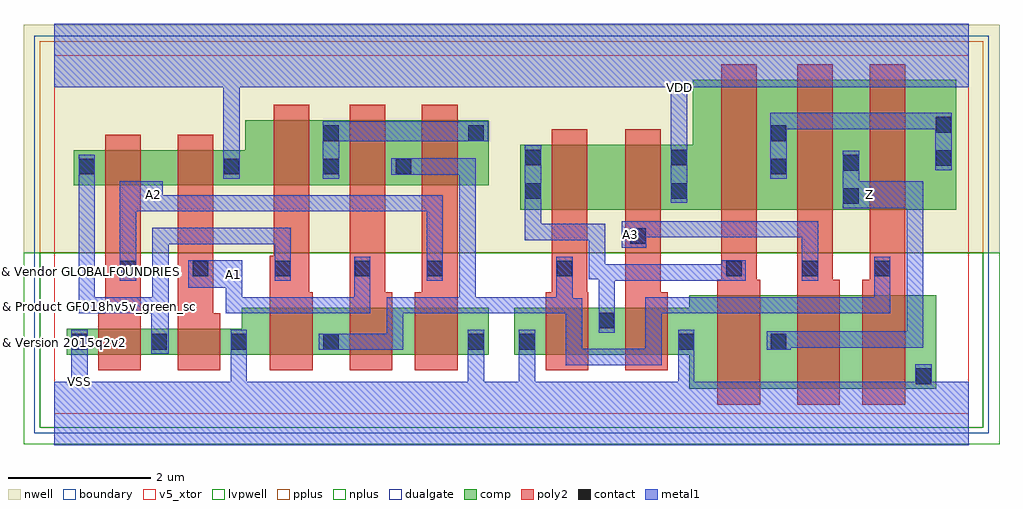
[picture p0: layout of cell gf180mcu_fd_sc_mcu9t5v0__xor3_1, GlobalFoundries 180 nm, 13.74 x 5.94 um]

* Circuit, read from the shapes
.subckt gf180mcu_fd_sc_mcu9t5v0__xor3_1 A1 A2 A3 VDD VSS Z
XM1 n1 A2 VSS VSUBS nfet_05v0 w=0.36u l=0.6u
XM2 VSS A1 n1 VSUBS nfet_05v0 w=0.36u l=0.6u
XM3 n2 n1 VSS VSUBS nfet_05v0 w=0.66u l=0.6u
XM4 n3 A1 n2 VSUBS nfet_05v0 w=0.66u l=0.6u
XM5 VSS A2 n3 VSUBS nfet_05v0 w=0.66u l=0.6u
XM6 n4 n2 VSS VSUBS nfet_05v0 w=0.66u l=0.6u
XM7 VSS A3 n4 VSUBS nfet_05v0 w=0.66u l=0.6u
XM8 Z n4 VSS VSUBS nfet_05v0 w=1.32u l=0.6u
XM9 n5 A3 Z VSUBS nfet_05v0 w=1.32u l=0.6u
XM10 VSS n2 n5 VSUBS nfet_05v0 w=1.32u l=0.6u
XM11 n6 A2 n1 n7 pfet_05v0 w=0.495u l=0.5u
XM12 VDD A1 n6 n7 pfet_05v0 w=0.495u l=0.5u
XM13 n8 n1 VDD n7 pfet_05v0 w=0.915u l=0.5u
XM14 n2 A1 n8 n7 pfet_05v0 w=0.915u l=0.5u
XM15 n8 A2 n2 n7 pfet_05v0 w=0.915u l=0.5u
XM16 n9 n2 n4 n7 pfet_05v0 w=0.915u l=0.5u
XM17 VDD A3 n9 n7 pfet_05v0 w=0.915u l=0.5u
XM18 n10 n4 VDD n7 pfet_05v0 w=1.83u l=0.5u
XM19 Z A3 n10 n7 pfet_05v0 w=1.83u l=0.5u
XM20 n10 n2 Z n7 pfet_05v0 w=1.83u l=0.5u
.ends

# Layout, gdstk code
import gdstk
lib = gdstk.Library(unit=1e-6, precision=1e-09)
def R(c, l, rs):  # rectangles x0, y0, x1, y1
    for r in rs: c.add(gdstk.rectangle(r[:2], r[2:], *l))
def A(c, l, x, y, w, h, nx, ny, dx, dy):  # array of equal rectangles
    R(c, l, [(x+i*dx, y+j*dy, x+i*dx+w, y+j*dy+h) for i in range(nx) for j in range(ny)])
def P(c, l, *ps):  # polygons
    for p in ps: c.add(gdstk.Polygon(p, *l))
boundary = (0, 0)
nwell = (21, 0)
comp = (22, 0)
poly2 = (30, 0)
pplus = (31, 0)
nplus = (32, 0)
contact = (33, 0)
metal1 = (34, 0)
dualgate = (55, 0)
v5_xtor = (112, 1)
lvpwell = (204, 0)

gf180mcu_fd_sc_mcu9t5v0_ = lib.new_cell('gf180mcu_fd_sc_mcu9t5v0__xor3_1')
R(gf180mcu_fd_sc_mcu9t5v0_, boundary, [(0,0,12.88,5.04)])
R(gf180mcu_fd_sc_mcu9t5v0_, nwell, [(-0.43,2.265,13.31,5.47)])
P(gf180mcu_fd_sc_mcu9t5v0_, comp, [(0.18,0.83),(0.18,1.19),(2.64,1.19),(2.64,1.49),(6.12,1.49),(6.12,0.83)],
  [(0.28,3.21),(0.28,3.705),(2.69,3.705),(2.69,4.125),(6.12,4.125),(6.12,3.21)],
  [(8.94,0.345),(8.94,0.83),(6.48,0.83),(6.48,1.49),(8.94,1.49),(8.94,1.665),(12.42,1.665),(12.42,0.345)],
  [(6.565,2.87),(6.565,3.785),(8.99,3.785),(8.99,4.7),(12.7,4.7),(12.7,2.87)])
P(gf180mcu_fd_sc_mcu9t5v0_, poly2, [(0.62,0.61),(0.62,1.41),(0.72,1.41),(0.72,3.925),(1.22,3.925),(1.22,0.61)],
  [(1.74,0.61),(1.74,3.925),(2.24,3.925),(2.24,1.41),(2.34,1.41),(2.34,0.61)],
  [(3.04,0.61),(3.04,2.22),(3.09,2.22),(3.09,4.345),(3.59,4.345),(3.59,1.71),(3.64,1.71),(3.64,0.61)],
  [(4.16,0.61),(4.16,4.345),(4.66,4.345),(4.66,1.71),(4.76,1.71),(4.76,0.61)],
  [(5.08,0.61),(5.08,1.71),(5.18,1.71),(5.18,4.345),(5.68,4.345),(5.68,0.61)],
  [(6.92,0.61),(6.92,1.71),(7.005,1.71),(7.005,4.005),(7.505,4.005),(7.505,1.71),(7.52,1.71),(7.52,0.61)],
  [(8.04,0.61),(8.04,4.005),(8.54,4.005),(8.54,1.71),(8.64,1.71),(8.64,0.61)],
  [(9.34,0.125),(9.34,1.885),(9.39,1.885),(9.39,4.92),(9.89,4.92),(9.89,1.885),(9.94,1.885),(9.94,0.125)],
  [(10.46,0.125),(10.46,4.92),(10.96,4.92),(10.96,1.885),(11.06,1.885),(11.06,0.125)],
  [(11.38,0.125),(11.38,1.885),(11.48,1.885),(11.48,4.92),(11.98,4.92),(11.98,0.125)])
R(gf180mcu_fd_sc_mcu9t5v0_, pplus, [(-0.2,2.265,13.08,5.24)])
R(gf180mcu_fd_sc_mcu9t5v0_, nplus, [(-0.2,-0.2,13.08,2.265)])
A(gf180mcu_fd_sc_mcu9t5v0_, contact, 0.25, 0.9, 0.22, 0.22, 3, 1, 1.12, 0)
R(gf180mcu_fd_sc_mcu9t5v0_, contact, [(12.13,0.415,12.35,0.635), (3.79,0.9,4.01,1.12), (5.83,0.9,6.05,1.12), (6.55,0.9,6.77,1.12), (8.79,0.9,9.01,1.12), (10.09,0.9,10.31,1.12), (7.67,1.2,7.89,1.42), (0.93,1.93,1.15,2.15), (1.95,1.93,2.17,2.15), (3.11,1.93,3.33,2.15), (4.23,1.93,4.45,2.15), (5.25,1.93,5.47,2.15), (7.075,1.93,7.295,2.15), (9.46,1.93,9.68,2.15), (10.53,1.93,10.75,2.15), (11.55,1.93,11.77,2.15), (8.11,2.39,8.33,2.61), (11.11,2.95,11.33,3.17), (6.635,3.025,6.855,3.245), (8.69,3.025,8.91,3.245), (0.35,3.365,0.57,3.585), (2.39,3.365,2.61,3.585), (3.79,3.365,4.01,3.585), (4.81,3.365,5.03,3.585), (10.09,3.365,10.31,3.585), (11.11,3.42,11.33,3.64), (12.41,3.485,12.63,3.705), (6.635,3.495,6.855,3.715), (8.69,3.495,8.91,3.715), (3.79,3.835,4.01,4.055), (5.83,3.835,6.05,4.055), (10.09,3.835,10.31,4.055), (12.41,3.955,12.63,4.175)])
P(gf180mcu_fd_sc_mcu9t5v0_, metal1, [(1.365,0.84),(1.365,1.41),(0.345,1.41),(0.345,3.645),(0.575,3.645),(0.575,1.64),(1.385,1.64),(1.385,2.615),(3.335,2.615),(3.335,1.87),(3.105,1.87),(3.105,2.385),(1.615,2.385),(1.615,0.84)],
  [(2.42,1.41),(2.42,1.77),(1.89,1.77),(1.89,2.155),(2.65,2.155),(2.65,1.64),(4.225,1.64),(4.225,2.21),(4.455,2.21),(4.455,1.41)],
  [(0.925,1.87),(0.925,3.27),(1.53,3.27),(1.53,3.075),(5.475,3.075),(5.475,1.87),(5.245,1.87),(5.245,2.845),(1.155,2.845),(1.155,1.87)],
  [(3.785,3.305),(3.785,4.115),(6.11,4.115),(6.11,3.83),(4.015,3.83),(4.015,3.305)],
  [(7.665,1.14),(7.665,1.89),(7.53,1.89),(7.53,2.44),(6.63,2.44),(6.63,3.775),(6.86,3.775),(6.86,2.67),(7.76,2.67),(7.76,2.1),(9.4,2.1),(9.4,2.155),(9.74,2.155),(9.74,1.87),(7.895,1.87),(7.895,1.14)],
  [(10.525,1.87),(10.525,2.48),(8.335,2.48),(8.335,2.33),(7.99,2.33),(7.99,2.71),(10.755,2.71),(10.755,1.87)],
  [(7.205,0.68),(7.205,1.41),(4.915,1.41),(4.915,0.895),(3.73,0.895),(3.73,1.125),(4.685,1.125),(4.685,1.64),(5.705,1.64),(5.705,3.36),(4.75,3.36),(4.75,3.59),(5.935,3.59),(5.935,1.64),(7.07,1.64),(7.07,2.21),(7.3,2.21),(7.3,1.62),(7.435,1.62),(7.435,0.91),(8.325,0.91),(8.325,1.64),(11.545,1.64),(11.545,2.21),(11.775,2.21),(11.775,1.41),(8.555,1.41),(8.555,0.68)],
  [(10.03,0.895),(10.03,1.155),(12.005,1.155),(12.005,2.89),(11.105,2.89),(11.105,3.7),(11.335,3.7),(11.335,3.27),(12.235,3.27),(12.235,0.925),(10.37,0.925),(10.37,0.895)],
  [(10.085,3.305),(10.085,4.235),(12.635,4.235),(12.635,3.425),(12.405,3.425),(12.405,4.005),(10.315,4.005),(10.315,3.305)],
  [(0,-0.45),(0,0.45),(0.245,0.45),(0.245,1.18),(0.475,1.18),(0.475,0.45),(2.485,0.45),(2.485,1.18),(2.715,1.18),(2.715,0.45),(5.825,0.45),(5.825,1.18),(6.055,1.18),(6.055,0.45),(6.545,0.45),(6.545,1.18),(6.775,1.18),(6.775,0.45),(8.785,0.45),(8.785,1.18),(9.015,1.18),(9.015,0.45),(12.125,0.45),(12.125,0.695),(12.355,0.695),(12.355,0.45),(12.88,0.45),(12.88,-0.45)],
  [(8.685,2.965),(8.685,4.59),(2.615,4.59),(2.615,3.305),(2.385,3.305),(2.385,4.59),(0,4.59),(0,5.49),(12.88,5.49),(12.88,4.59),(8.915,4.59),(8.915,2.965)])
R(gf180mcu_fd_sc_mcu9t5v0_, dualgate, [(-0.28,-0.28,13.16,5.32)])
R(gf180mcu_fd_sc_mcu9t5v0_, v5_xtor, [(0,0,12.88,5.04)])
R(gf180mcu_fd_sc_mcu9t5v0_, lvpwell, [(-0.43,-0.43,13.31,2.265)])
gf180mcu_fd_sc_mcu9t5v0_.add(gdstk.Label('A1', (2.52,1.96), layer=34, texttype=10))
gf180mcu_fd_sc_mcu9t5v0_.add(gdstk.Label('A2', (1.4,3.08), layer=34, texttype=10))
gf180mcu_fd_sc_mcu9t5v0_.add(gdstk.Label('A3', (8.12,2.52), layer=34, texttype=10))
gf180mcu_fd_sc_mcu9t5v0_.add(gdstk.Label('VDD', (8.8,4.59), layer=34, texttype=10))
gf180mcu_fd_sc_mcu9t5v0_.add(gdstk.Label('VSS', (0.36,0.45), layer=34, texttype=10))
gf180mcu_fd_sc_mcu9t5v0_.add(gdstk.Label('Z', (11.48,3.08), layer=34, texttype=10))
gf180mcu_fd_sc_mcu9t5v0_.add(gdstk.Label('& Vendor GLOBALFOUNDRIES', (0,2), layer=63, texttype=63))
gf180mcu_fd_sc_mcu9t5v0_.add(gdstk.Label('& Product GF018hv5v_green_sc9', (0,1.5), layer=63, texttype=63))
gf180mcu_fd_sc_mcu9t5v0_.add(gdstk.Label('& Version 2015q2v2', (0,1), layer=63, texttype=63))
gf180mcu_fd_sc_mcu9t5v0_.add(gdstk.Label('& Metric 1.00', (0,0.5), layer=63, texttype=63))

lib.write_gds('gf180mcu_fd_sc_mcu9t5v0__xor3_1.gds')
